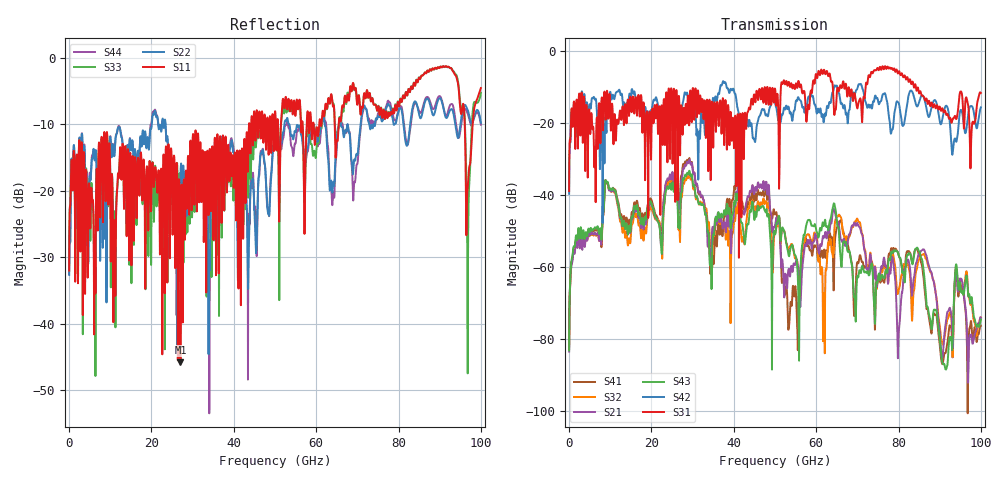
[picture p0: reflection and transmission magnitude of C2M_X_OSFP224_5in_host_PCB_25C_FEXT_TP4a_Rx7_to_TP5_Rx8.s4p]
# GHz S RI R 45
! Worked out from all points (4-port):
!   4000 points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, 25 MHz to 100 GHz, reference 45 ohm
!   strongest paths, dB at 25 MHz, 25.02 GHz, 50.02 GHz, 75.03 GHz, 100 GHz:
!     S31: -38.9, -14.8, -10.6, -5.1, -11.7
!     S42: -39.7, -16.6, -14.6, -13.9, -15.7
!     S43: -83.1, -37.0, -50.9, -63.2, -74.5
!     S21: -83.5, -34.1, -48.4, -62.8, -74.1
!     S32: -82.1, -35.5, -50.7, -63.3, -74.0
!     S41: -82.6, -35.1, -45.4, -63.3, -76.3
!   lowest |S11| = -45.8 dB at 27.05 GHz (marker M1), VSWR 1.01, Z = 45.2 - j0.428 ohm
!   |S11| at or under -10 dB: start of sweep to 43.71 GHz; 59.39 GHz to 60.74 GHz (1.355 GHz wide, 2.26 % of centre); 96.08 GHz to 98 GHz (1.928 GHz wide, 1.99 % of centre)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
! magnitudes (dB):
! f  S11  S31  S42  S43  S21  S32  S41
! 25 MHz  -32.0  -38.9  -39.7  -83.1  -83.5  -82.1  -82.6
! 9.125 GHz  -11.5  -11.8  -21.6  -36.5  -36.6  -36.5  -36.8
! 27.05 GHz  -45.8  -21.4  -19.4  -43.0  -40.3  -46.8  -37.4
! 48.1 GHz  -9.1  -10.2  -18.0  -45.8  -39.5  -43.6  -41.0
! 53.55 GHz  -7.5  -9.6  -17.2  -56.4  -61.7  -54.4  -74.3
! 65.8 GHz  -9.3  -9.7  -13.3  -55.5  -51.2  -45.9  -47.2
! 100 GHz  -4.6  -11.7  -15.7  -74.5  -74.1  -74.0  -76.3
